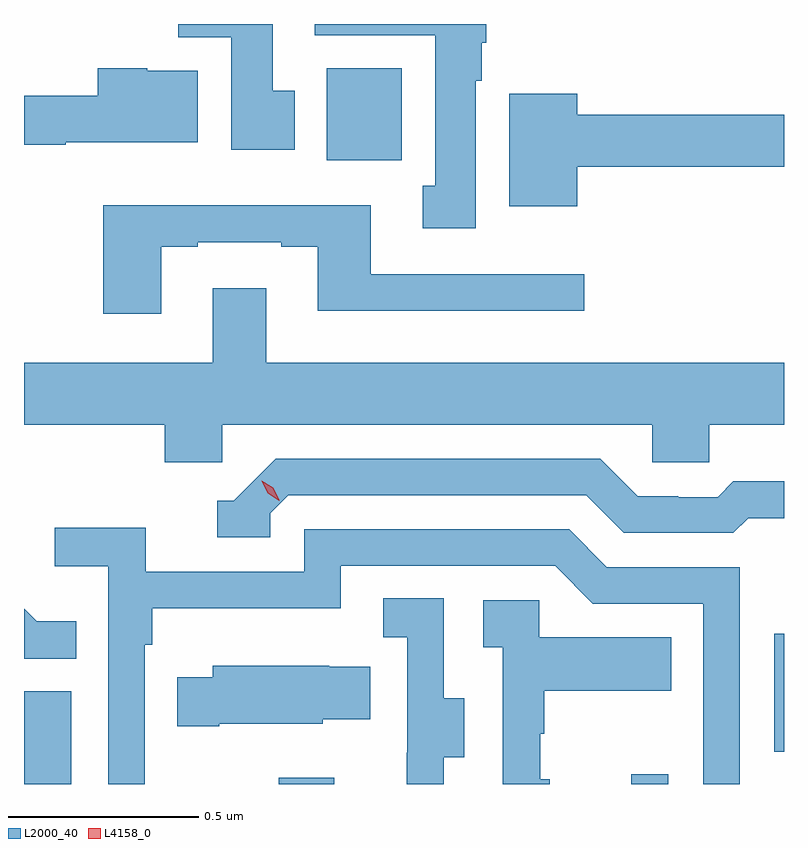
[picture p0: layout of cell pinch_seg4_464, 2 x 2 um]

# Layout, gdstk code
import gdstk
lib = gdstk.Library(unit=1e-6, precision=1e-09)
def R(c, l, rs):  # rectangles x0, y0, x1, y1
    for r in rs: c.add(gdstk.rectangle(r[:2], r[2:], *l))
def P(c, l, *ps):  # polygons
    for p in ps: c.add(gdstk.Polygon(p, *l))
L2000_40 = (2000, 40)
L4158_0 = (4158, 0)

pinch_seg4_464 = lib.new_cell('pinch_seg4_464')
R(pinch_seg4_464, L2000_40, [(945.708,782.555,945.832,782.799), (946.378,782.555,946.525,782.572), (947.306,782.555,947.403,782.581), (947.682,782.64,947.708,782.95), (946.505,784.196,946.702,784.438)])
P(pinch_seg4_464, L2000_40, [(946.42,784.38),(946.363,784.38),(946.363,784.555),(946.114,784.555),(946.114,784.52),(946.253,784.52),(946.253,784.224),(946.42,784.224)],
  [(946.897,784.406),(946.912,784.406),(946.912,784.506),(946.924,784.506),(946.924,784.555),(946.473,784.555),(946.473,784.526),(946.79,784.526),(946.79,784.13),(946.757,784.13),(946.757,784.017),(946.897,784.017)],
  [(945.818,784.244),(946.165,784.244),(946.165,784.432),(946.032,784.432),(946.032,784.438),(945.902,784.438),(945.902,784.366),(945.708,784.366),(945.708,784.237),(945.818,784.237)],
  [(947.164,784.18),(947.708,784.18),(947.708,784.316),(947.164,784.316),(947.164,784.372),(946.985,784.372),(946.985,784.076),(947.164,784.076)],
  [(946.069,783.969),(946.165,783.969),(946.165,783.981),(946.385,783.981),(946.385,783.969),(946.481,783.969),(946.481,783.8),(947.182,783.8),(947.182,783.897),(946.621,783.897),(946.621,784.078),(945.917,784.078),(945.917,783.792),(946.069,783.792)],
  [(946.23,783.5),(947.361,783.5),(947.361,783.402),(947.511,783.402),(947.511,783.5),(947.708,783.5),(947.708,783.664),(946.345,783.664),(946.345,783.859),(946.205,783.859),(946.205,783.664),(945.708,783.664),(945.708,783.5),(946.079,783.5),(946.079,783.402),(946.23,783.402)],
  [(946.356,783.267),(946.404,783.315),(947.187,783.315),(947.286,783.216),(947.575,783.216),(947.614,783.255),(947.708,783.255),(947.708,783.352),(947.575,783.352),(947.533,783.309),(947.43,783.309),(947.43,783.312),(947.323,783.312),(947.224,783.411),(946.371,783.411),(946.26,783.3),(946.217,783.3),(946.217,783.204),(946.356,783.204)],
  [(946.026,782.921),(946.046,782.921),(946.046,783.017),(946.542,783.017),(946.542,783.129),(947.106,783.129),(947.205,783.03),(947.496,783.03),(947.496,782.555),(947.592,782.555),(947.592,783.126),(947.242,783.126),(947.143,783.225),(946.446,783.225),(946.446,783.114),(946.028,783.114),(946.028,783.23),(945.789,783.23),(945.789,783.128),(945.93,783.128),(945.93,782.555),(946.026,782.555)],
  [(946.813,782.626),(946.867,782.626),(946.867,782.781),(946.812,782.781),(946.812,783.044),(946.653,783.044),(946.653,782.941),(946.716,782.941),(946.716,782.637),(946.715,782.637),(946.715,782.555),(946.813,782.555)],
  [(947.092,782.568),(947.067,782.568),(947.067,782.687),(947.077,782.687),(947.077,782.801),(947.411,782.801),(947.411,782.941),(947.064,782.941),(947.064,783.039),(946.917,783.039),(946.917,782.915),(946.968,782.915),(946.968,782.555),(947.092,782.555)],
  [(945.845,782.983),(945.741,782.983),(945.708,783.016),(945.708,782.884),(945.845,782.884)],
  [(946.222,782.714),(946.494,782.714),(946.494,782.726),(946.619,782.726),(946.619,782.863),(946.511,782.863),(946.511,782.866),(946.205,782.866),(946.205,782.836),(946.111,782.836),(946.111,782.707),(946.222,782.707)])
P(pinch_seg4_464, L4158_0, [(946.38,783.301),(946.349,783.32),(946.333,783.353),(946.333,783.353),(946.333,783.353),(946.364,783.334),(946.38,783.302),(946.38,783.301)])

lib.write_gds('pinch_seg4_464.gds')
